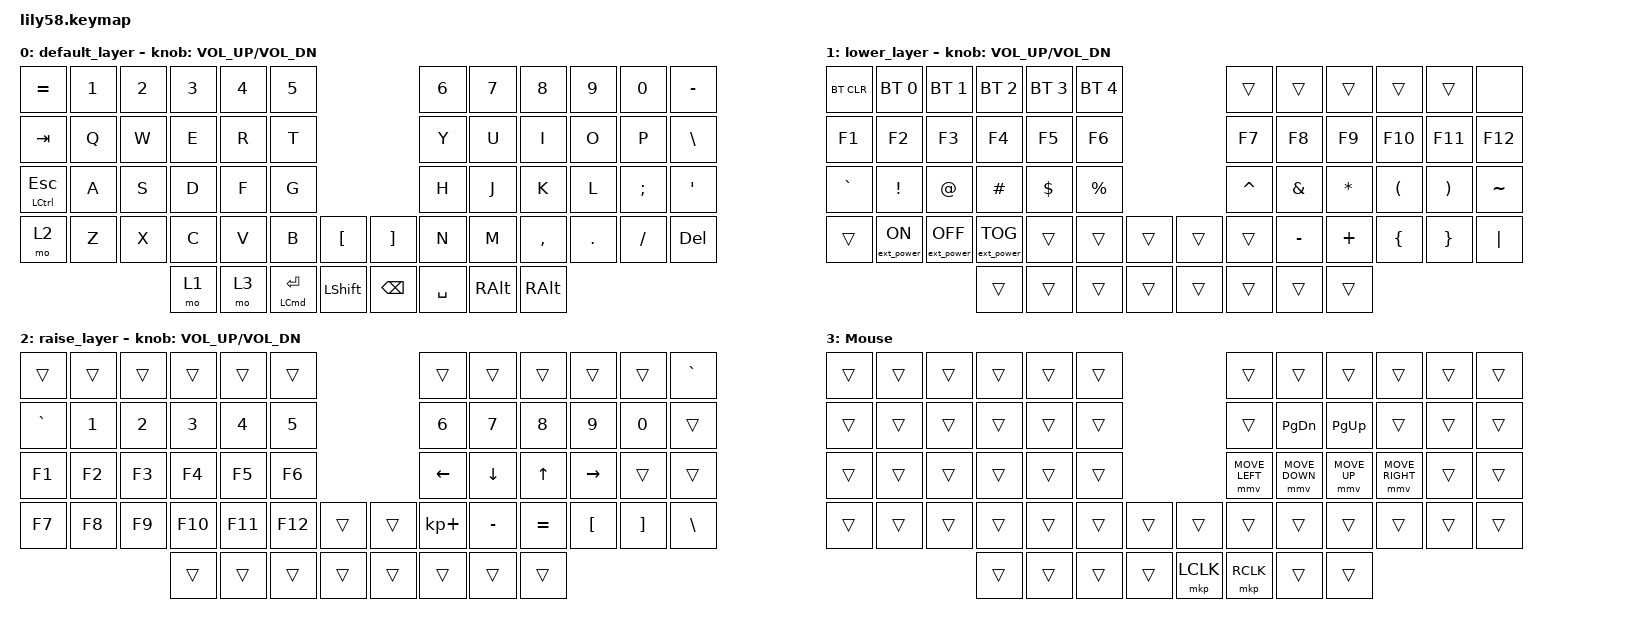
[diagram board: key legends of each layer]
/*
 * Copyright (c) 2020 The ZMK Contributors
 *
 * SPDX-License-Identifier: MIT
 */

#include <behaviors.dtsi>
#include <dt-bindings/zmk/bt.h>
#include <dt-bindings/zmk/ext_power.h>
#include <dt-bindings/zmk/keys.h>
#include <dt-bindings/zmk/mouse.h>
#include "mouse.dtsi"

/ {
    keymap {
        compatible = "zmk,keymap";

        default_layer {
            // ------------------------------------------------------------------------------------------------------------
            // |  ESC  |  1  |  2  |  3   |  4   |  5   |                   |  6   |  7    |  8    |  9   |   0   |   `   |
            // |  TAB  |  Q  |  W  |  E   |  R   |  T   |                   |  Y   |  U    |  I    |  O   |   P   |   -   |
            // |  CTRL |  A  |  S  |  D   |  F   |  G   |                   |  H   |  J    |  K    |  L   |   ;   |   '   |
            // | SHIFT |  Z  |  X  |  C   |  V   |  B   |   "["  |  |  "]"  |  N   |  M    |  ,    |  .   |   /   | SHIFT |
            //                     | ALT  | GUI  | LOWER|  SPACE |  | ENTER | RAISE| BSPC  | GUI   |

            bindings = <
&kp EQUAL         &kp N1  &kp N2  &kp N3  &kp N4  &kp N5                                                   &kp N6     &kp N7         &kp N8         &kp N9   &kp N0    &kp MINUS
&kp TAB           &kp Q   &kp W   &kp E   &kp R   &kp T                                                    &kp Y      &kp U          &kp I          &kp O    &kp P     &kp BACKSLASH
&mt LCTRL ESCAPE  &kp A   &kp S   &kp D   &kp F   &kp G                                                    &kp H      &kp J          &kp K          &kp L    &kp SEMI  &kp SQT
&mo 2             &kp Z   &kp X   &kp C   &kp V   &kp B                   &kp LBKT          &kp RBKT       &kp N      &kp M          &kp COMMA      &kp DOT  &kp FSLH  &kp DELETE
                                  &mo 1   &mo 3   &mt LEFT_COMMAND ENTER  &kp LEFT_SHIFT    &kp BACKSPACE  &kp SPACE  &kp RIGHT_ALT  &kp RIGHT_ALT
            >;

            sensor-bindings = <&inc_dec_kp C_VOL_UP C_VOL_DN>;
        };

        lower_layer {
            // ------------------------------------------------------------------------------------------------------------
            // | BTCLR | BT1 | BT2 |  BT3 |  BT4 |  BT5 |                   |      |       |       |      |       |       |
            // |  F1   |  F2 |  F3 |  F4  |  F5  |  F6  |                   |  F7  |  F8   |  F9   |  F10 |  F11  |  F12  |
            // |   `   |  !  |  @  |  #   |  $   |  %   |                   |  ^   |  &    |  *    |  (   |   )   |   ~   |
            // |       |     |     |      |      |      |        |  |       |      |  _    |  +    |  {   |   }   |  "|"  |
            //                     |      |      |      |        |  |       |      |       |       |

            bindings = <
&bt BT_CLR  &bt BT_SEL 0      &bt BT_SEL 1       &bt BT_SEL 2       &bt BT_SEL 3  &bt BT_SEL 4                    &trans     &trans     &trans     &trans    &trans    &none
&kp F1      &kp F2            &kp F3             &kp F4             &kp F5        &kp F6                          &kp F7     &kp F8     &kp F9     &kp F10   &kp F11   &kp F12
&kp GRAVE   &kp EXCL          &kp AT             &kp HASH           &kp DOLLAR    &kp PRCNT                       &kp CARET  &kp AMPS   &kp ASTRK  &kp LPAR  &kp RPAR  &kp TILDE
&trans      &ext_power EP_ON  &ext_power EP_OFF  &ext_power EP_TOG  &trans        &trans        &trans    &trans  &trans     &kp MINUS  &kp PLUS   &kp LBRC  &kp RBRC  &kp PIPE
                                                 &trans             &trans        &trans        &trans    &trans  &trans     &trans     &trans
            >;

            sensor-bindings = <&inc_dec_kp C_VOL_UP C_VOL_DN>;
        };

        raise_layer {
            // ------------------------------------------------------------------------------------------------------------
            // |       |     |     |      |      |      |                   |      |       |       |      |       |       |
            // |   `   |  1  |  2  |  3   |  4   |  5   |                   |  6   |   7   |   8   |  9   |   0   |       |
            // |   F1  |  F2 |  F3 |  F4  |  F5  |  F6  |                   |      |   <-  |   v   |  ^   |  ->   |       |
            // |   F7  |  F8 |  F9 |  F10 |  F11 |  F12 |        |  |       |  +   |   -   |   =   |  [   |   ]   |   \   |
            //                     |      |      |      |        |  |       |      |       |       |

            bindings = <
&trans     &trans  &trans  &trans   &trans   &trans                     &trans       &trans     &trans        &trans     &trans    &kp GRAVE
&kp GRAVE  &kp N1  &kp N2  &kp N3   &kp N4   &kp N5                     &kp N6       &kp N7     &kp N8        &kp N9     &kp N0    &trans
&kp F1     &kp F2  &kp F3  &kp F4   &kp F5   &kp F6                     &kp LEFT     &kp DOWN   &kp UP_ARROW  &kp RIGHT  &trans    &trans
&kp F7     &kp F8  &kp F9  &kp F10  &kp F11  &kp F12  &trans    &trans  &kp KP_PLUS  &kp MINUS  &kp EQUAL     &kp LBKT   &kp RBKT  &kp BSLH
                           &trans   &trans   &trans   &trans    &trans  &trans       &trans     &trans
            >;

            sensor-bindings = <&inc_dec_kp C_VOL_UP C_VOL_DN>;
        };

        Mouse {
            bindings = <
&trans  &trans  &trans  &trans  &trans  &trans                       &trans          &trans          &trans        &trans           &trans  &trans
&trans  &trans  &trans  &trans  &trans  &trans                       &trans          &kp PG_DN       &kp PG_UP     &trans           &trans  &trans
&trans  &trans  &trans  &trans  &trans  &trans                       &mmv MOVE_LEFT  &mmv MOVE_DOWN  &mmv MOVE_UP  &mmv MOVE_RIGHT  &trans  &trans
&trans  &trans  &trans  &trans  &trans  &trans  &trans    &trans     &trans          &trans          &trans        &trans           &trans  &trans
                        &trans  &trans  &trans  &trans    &mkp LCLK  &mkp RCLK       &trans          &trans
            >;
        };
    };
};
